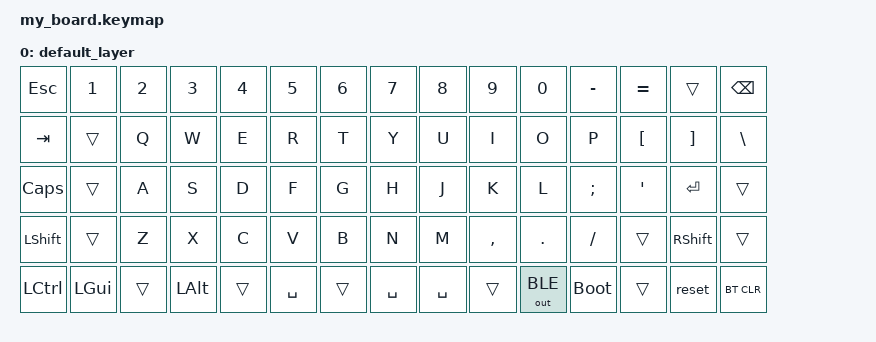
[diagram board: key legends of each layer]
#include <behaviors.dtsi>
#include <dt-bindings/zmk/keys.h>
#include <dt-bindings/zmk/bt.h>
#include <dt-bindings/zmk/outputs.h>

/ {
    keymap {
        compatible = "zmk,keymap";

        default_layer {
// ------------------------------------------------------------------------------------------
// | ESC |  1  |  2  |  3  |  4  |  5  |  6  |  7  |  8  |  9  |  0  |  -  |  =  |   BKSP   |
// | TAB  |  Q  |  W  |  E  |  R  |  T  |  Y  |  U  |  I  |  O  |  P  |  [  |  ]  |    \    |
// | CAPS  |  A  |  S  |  D  |  F  |  G  |  H  |  J  |  K  |  L  |  ;  |  '  |     ENTER    |
// |  SHIFT  |  Z  |  X  |  C  |  V  |  B  |  N  |  M  |  ,  |  .  |  /  |      SHIFT       |		
// |  CTL  |  WIN  |  ALT  |    SPACE    SPACE    SPACE      | ALT | boot |  WIN  | CTRL    |
// ------------------------------------------------------------------------------------------
		bindings = <
	&kp ESC &kp N1 &kp N2 &kp N3 &kp N4 &kp N5 &kp N6 &kp N7 &kp   N8  &kp  N9 &kp  N0  &kp MINUS &kp EQUAL &trans &kp BSPC 
	&kp TAB &trans  &kp Q  &kp W  &kp E  &kp R  &kp T  &kp Y  &kp U  &kp   I   &kp  O  &kp   P  &kp LBKT &kp RBKT  &kp BSLH
	&kp CLCK &trans  &kp A  &kp S  &kp D  &kp F  &kp G  &kp H  &kp J  &kp   K   &kp  L  &kp SEMI &kp SQT           &kp RET &trans
	&kp LSHFT &trans  &kp Z  &kp X  &kp C  &kp V  &kp B  &kp N  &kp M  &kp COMMA &kp DOT &kp FSLH  &trans &kp RSHFT &trans
	&kp LCTRL &kp LGUI &trans &kp LALT &trans &kp SPACE &trans &kp SPACE &kp SPACE &trans &out OUT_BLE &bootloader &trans  &reset  &bt BT_CLR
			>;
        };
    };
};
